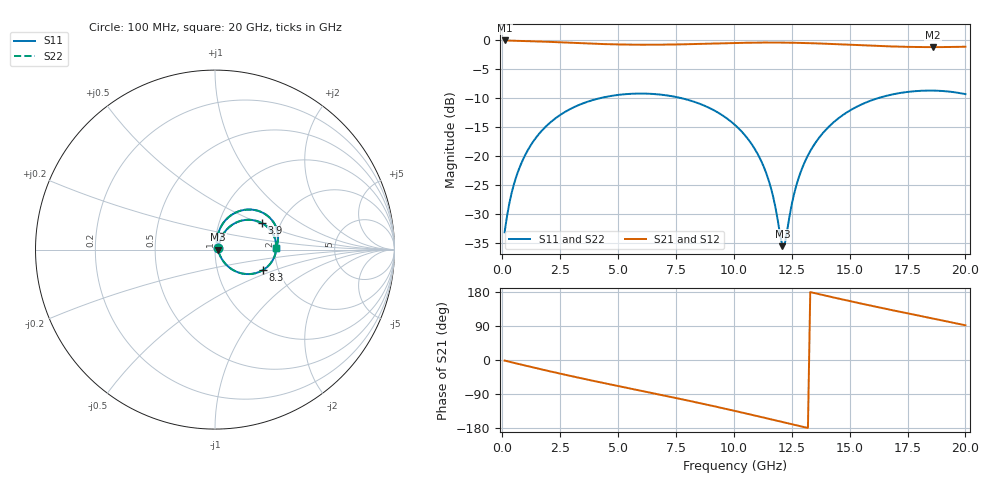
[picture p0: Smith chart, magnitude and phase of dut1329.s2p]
! Touchstone file exported from HFSS 2026.1.0
!  File:  C:/ffzhzh/LocalFiles/Ansys_Project_Files/temp_train_TSV_RDL_1329_1783337823_5512.aedt
!  Generated:  07:45:35 PM Jul  6, 2026
!  Design:  TSV_RDL
!  Project:  temp_train_TSV_RDL_1329_1783337823_5512
! Variables:
!  h_bsmrdl = 4.17um
!  h_ox = 20um
!  h_rdl = 5um
!  h_sub = 67.38um
!  h_tmrdl = 5.91um
!  h_tsv = 67.38um
!  h_via = 3um
!  l_bsmrdl = 231.91um
!  l_sub = 4527.78um
!  l_tmrdl = 826.19um
!  m_sub = 200um
!  pitch = 31.92um
!  r_tsv = 5.58um
!  s_tmrdl = 10um
!  w_bsmrdl = 28.16um
!  w_sub = 500um
!  w_tmrdl = 14.27um
!  x_tsv_center1 = 833.325um
!  x_tsv_center2 = 1093.395um
!  x_tsv_center3 = 1933.855um
!  x_tsv_center4 = 2193.925um
!  x_tsv_center5 = 3034.385um
!  x_tsv_center6 = 3294.455um
# GHz S MA R 50.000000
! Terminal data exported
! Port[1] = TM_RDL1_1_T1
! Port[2] = TM_RDL5_1_T1
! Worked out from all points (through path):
!   200 points, 100 MHz to 20 GHz, reference 50 ohm
!   highest |S21| = -0.16 dB at 100 MHz (marker M1); lowest = -1.3 dB at 18.6 GHz (marker M2)
!   group delay of S21, straight-line fit = 37.3 ps
!   lowest |S11| = -35.6 dB at 12.1 GHz (marker M3), VSWR 1.03, Z = 51.7 + j0.0215 ohm
!   |S11| at or under -10 dB: start of sweep to 4.346 GHz; 7.612 GHz to 16.32 GHz (8.707 GHz wide, 72.8 % of centre)
!   |S22| runs from -35.7 to -8.8 dB; largest |S21 - S12| = 1.8e-14
!   S11 on the Smith chart (normalised r, x): 100 MHz: 1.04, +0.02; 3.9 GHz: 1.60, +0.52; 8.3 GHz: 1.66, -0.42; 20 GHz: 2.02, +0.03
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0.1  0.02178 30.4  0.9815 -1.6  0.9815 -1.6  0.02178 30.4
! Gamma 0 0 0 0
! Port Impedance 50 0 50 0
0.3  0.03837 53.0  0.9789 -4.6  0.9789 -4.6  0.03837 53.0
0.5  0.05627 59.6  0.9768 -7.5  0.9768 -7.5  0.05627 59.6
1.2  0.12 60.6  0.9687 -17.7  0.9687 -17.7  0.12 60.6
2.2  0.2023 50.3  0.9514 -31.9  0.9514 -31.9  0.2023 50.3
3.5  0.2823 34.4  0.9268 -49.4  0.9268 -49.4  0.2823 34.4
3.9  0.3001 29.5  0.9202 -54.6  0.9202 -54.6  0.3001 29.5
5.3  0.3376 12.6  0.9046 -72.5  0.9046 -72.5  0.3377 12.6
6.8  0.3356 -5.2  0.9026 -91.4  0.9026 -91.4  0.3356 -5.2
8.3  0.2899 -23.3  0.9138 -110.7  0.9138 -110.7  0.2899 -23.3
10.1  0.1795 -44.7  0.9336 -135.1  0.9336 -135.1  0.1795 -44.8
10.8  0.1228 -51.8  0.9391 -145.0  0.9391 -145.0  0.1228 -51.9
11.4  0.07035 -54.4  0.9414 -153.6  0.9414 -153.6  0.07035 -54.4
11.7  0.04392 -50.2  0.9415 -157.9  0.9415 -157.9  0.04391 -50.3
12.1  0.01653 0.7  0.9405 -163.6  0.9405 -163.6  0.01648 0.6
12.2  0.01725 31.6  0.94 -165.1  0.94 -165.1  0.01719 31.6
12.7  0.05532 77.3  0.9365 -172.3  0.9365 -172.3  0.05529 77.3
13.4  0.1179 76.8  0.9285 177.7  0.9285 177.7  0.1179 76.8
14.8  0.2298 61.9  0.905 158.3  0.905 158.3  0.2298 61.9
16.7  0.3312 39.4  0.873 133.3  0.873 133.3  0.3312 39.4
18.6  0.3627 17.3  0.86 109.4  0.86 109.4  0.3628 17.3
20  0.3382 1.1  0.8672 91.6  0.8672 91.6  0.3383 1.1
